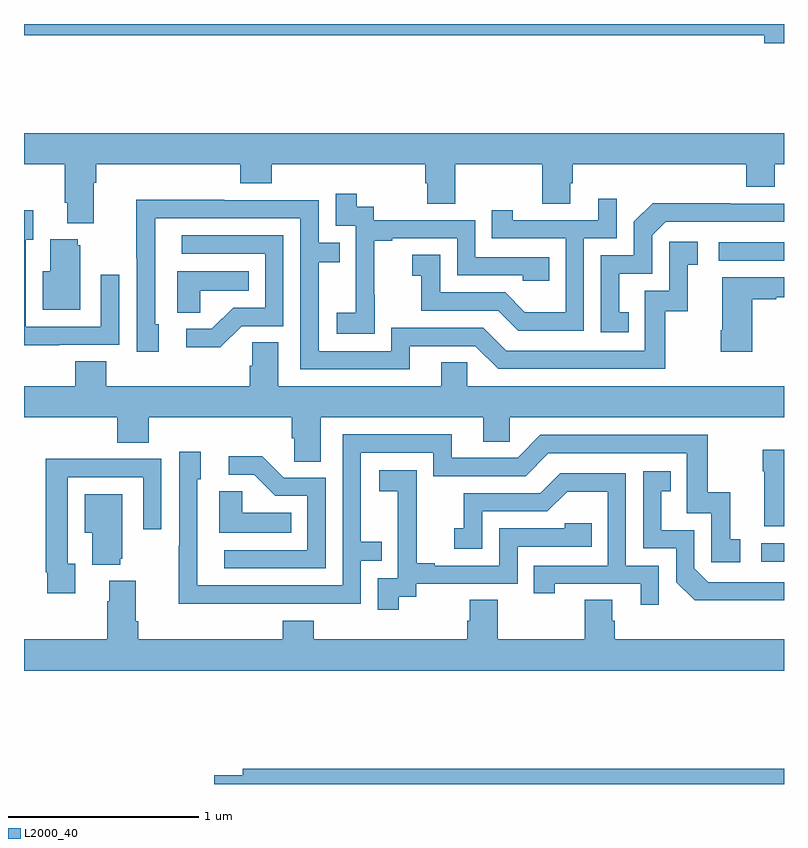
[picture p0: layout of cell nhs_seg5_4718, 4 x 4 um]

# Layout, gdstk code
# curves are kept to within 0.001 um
import gdstk
lib = gdstk.Library(unit=1e-6, precision=1e-09)
def R(c, l, rs):  # rectangles x0, y0, x1, y1
    for r in rs: c.add(gdstk.rectangle(r[:2], r[2:], *l))
def P(c, l, *ps):  # polygons
    for p in ps: c.add(gdstk.Polygon(p, *l))
L2000_40 = (2000, 40)

nhs_seg5_4718 = lib.new_cell('nhs_seg5_4718')
R(nhs_seg5_4718, L2000_40, [(390.879,887.97,391,888.066), (390.657,889.554,391,889.65)])
P(nhs_seg5_4718, L2000_40, [(391,890.799),(387,890.799),(387,890.74),(390.896,890.74),(390.896,890.698),(391,890.698)],
  [(387.367,889.964),(387.38,889.964),(387.38,890.06),(388.139,890.06),(388.139,889.961),(388.304,889.961),(388.304,890.06),(389.111,890.06),(389.111,889.962),(389.123,889.962),(389.123,889.852),(389.271,889.852),(389.271,890.06),(389.728,890.06),(389.728,889.852),(389.875,889.852),(389.875,889.962),(389.888,889.962),(389.888,890.06),(390.8,890.06),(390.8,889.943),(390.952,889.943),(390.952,890.06),(391,890.06),(391,890.224),(387,890.224),(387,890.06),(387.215,890.06),(387.215,889.858),(387.227,889.858),(387.227,889.751),(387.367,889.751)],
  [(388.845,889.375),(388.844,889.375),(388.844,889.659),(388.939,889.659),(388.939,889.671),(389.28,889.671),(389.28,889.476),(389.625,889.476),(389.625,889.449),(389.765,889.449),(389.765,889.572),(389.376,889.572),(389.376,889.767),(388.842,889.767),(388.842,889.836),(388.75,889.836),(388.75,889.906),(388.641,889.906),(388.641,889.737),(388.746,889.737),(388.746,889.508),(388.745,889.508),(388.745,889.279),(388.647,889.279),(388.647,889.169),(388.845,889.169)],
  [(389.946,889.671),(390.12,889.671),(390.12,889.879),(390.023,889.879),(390.023,889.767),(389.572,889.767),(389.572,889.819),(389.461,889.819),(389.461,889.671),(389.85,889.671),(389.85,889.282),(389.636,889.282),(389.532,889.386),(389.19,889.386),(389.19,889.585),(389.043,889.585),(389.043,889.475),(389.092,889.475),(389.092,889.29),(389.495,889.29),(389.6,889.185),(389.946,889.185)],
  [(389.029,889.104),(389.376,889.104),(389.496,888.984),(390.376,888.984),(390.376,889.287),(390.494,889.287),(390.494,889.533),(390.547,889.533),(390.547,889.654),(390.396,889.654),(390.396,889.395),(390.267,889.395),(390.267,889.08),(389.538,889.08),(389.418,889.2),(388.932,889.2),(388.932,889.077),(388.551,889.077),(388.551,889.546),(388.661,889.546),(388.661,889.647),(388.551,889.647),(388.551,889.872),(388.055,889.872),(388.055,889.874),(387.592,889.874),(387.592,889.567),(387.594,889.567),(387.594,889.074),(387.709,889.074),(387.709,889.218),(387.69,889.218),(387.69,889.776),(388.455,889.776),(388.455,888.981),(389.029,888.981)],
  [(390.182,889.281),(390.133,889.281),(390.133,889.485),(390.306,889.485),(390.306,889.686),(390.378,889.758),(391,889.758),(391,889.854),(390.716,889.854),(390.716,889.856),(390.308,889.856),(390.21,889.758),(390.21,889.581),(390.036,889.581),(390.036,889.176),(390.182,889.176)],
  [(387.185,889.11),(387.501,889.11),(387.501,889.48),(387.405,889.48),(387.405,889.206),(387.009,889.206),(387.009,889.663),(387.049,889.663),(387.049,889.819),(387,889.819),(387,889.109),(387.185,889.109)],
  [(388.146,889.209),(388.365,889.209),(388.365,889.686),(387.831,889.686),(387.831,889.59),(388.269,889.59),(388.269,889.305),(388.1,889.305),(387.989,889.194),(387.855,889.194),(387.855,889.097),(388.033,889.097)],
  [(387.295,889.635),(387.284,889.635),(387.284,889.666),(387.137,889.666),(387.137,889.498),(387.098,889.498),(387.098,889.295),(387.295,889.295)],
  [(387.927,889.394),(388.184,889.394),(388.184,889.498),(387.806,889.498),(387.806,889.279),(387.927,889.279)],
  [(390.832,889.351),(390.959,889.351),(390.959,889.361),(391,889.361),(391,889.465),(390.674,889.465),(390.674,889.186),(390.667,889.186),(390.667,889.074),(390.832,889.074)],
  [(389.334,889.019),(389.195,889.019),(389.195,888.892),(388.339,888.892),(388.339,889.124),(388.2,889.124),(388.2,889.001),(388.187,889.001),(388.187,888.892),(387.434,888.892),(387.434,889.025),(387.269,889.025),(387.269,888.892),(387,888.892),(387,888.728),(387.491,888.728),(387.491,888.595),(387.656,888.595),(387.656,888.728),(388.409,888.728),(388.409,888.619),(388.422,888.619),(388.422,888.496),(388.561,888.496),(388.561,888.728),(389.417,888.728),(389.417,888.601),(389.556,888.601),(389.556,888.728),(391,888.728),(391,888.892),(389.334,888.892)],
  [(388.277,887.748),(388.773,887.748),(388.773,887.973),(388.883,887.973),(388.883,888.074),(388.773,888.074),(388.773,888.543),(389.154,888.543),(389.154,888.42),(389.64,888.42),(389.76,888.54),(390.489,888.54),(390.489,888.225),(390.618,888.225),(390.618,887.967),(390.769,887.967),(390.769,888.087),(390.716,888.087),(390.716,888.334),(390.598,888.334),(390.598,888.636),(389.718,888.636),(389.598,888.516),(389.251,888.516),(389.251,888.639),(388.677,888.639),(388.677,887.844),(387.912,887.844),(387.912,888.402),(387.931,888.402),(387.931,888.547),(387.816,888.547),(387.816,888.053),(387.814,888.053),(387.814,887.747)],
  [(391,888.559),(390.889,888.559),(390.889,888.446),(390.896,888.446),(390.896,888.155),(391,888.155)],
  [(388.587,888.411),(388.368,888.411),(388.255,888.524),(388.077,888.524),(388.077,888.426),(388.211,888.426),(388.322,888.315),(388.491,888.315),(388.491,888.03),(388.053,888.03),(388.053,887.934),(388.587,887.934)],
  [(387.271,887.958),(387.231,887.958),(387.231,888.414),(387.627,888.414),(387.627,888.141),(387.723,888.141),(387.723,888.51),(387.407,888.51),(387.407,888.512),(387.115,888.512),(387.115,887.914),(387.123,887.914),(387.123,887.802),(387.271,887.802)],
  [(388.972,887.785),(389.064,887.785),(389.064,887.853),(389.598,887.853),(389.598,888.048),(389.987,888.048),(389.987,888.171),(389.847,888.171),(389.847,888.144),(389.502,888.144),(389.502,887.949),(389.161,887.949),(389.161,887.962),(389.066,887.962),(389.066,888.245),(389.067,888.245),(389.067,888.451),(388.869,888.451),(388.869,888.341),(388.967,888.341),(388.967,888.113),(388.968,888.113),(388.968,887.883),(388.863,887.883),(388.863,887.715),(388.972,887.715)],
  [(390.938,887.766),(391,887.766),(391,887.862),(390.6,887.862),(390.528,887.934),(390.528,888.135),(390.355,888.135),(390.355,888.339),(390.404,888.339),(390.404,888.445),(390.258,888.445),(390.258,888.039),(390.432,888.039),(390.432,887.862),(390.53,887.765)],
  [(390.342,887.949),(390.168,887.949),(390.168,888.435),(389.822,888.435),(389.717,888.33),(389.314,888.33),(389.314,888.145),(389.265,888.145),(389.265,888.036),(389.412,888.036),(389.412,888.234),(389.754,888.234),(389.858,888.338),(390.072,888.338),(390.072,887.949),(389.683,887.949),(389.683,887.802),(389.794,887.802),(389.794,887.853),(390.245,887.853),(390.245,887.742),(390.342,887.742)],
  [(388.406,888.226),(388.149,888.226),(388.149,888.341),(388.028,888.341),(388.028,888.122),(388.406,888.122)],
  [(387.506,887.985),(387.517,887.985),(387.517,888.325),(387.32,888.325),(387.32,888.122),(387.359,888.122),(387.359,887.954),(387.506,887.954)],
  [(391,887.56),(390.11,887.56),(390.11,887.658),(390.097,887.658),(390.097,887.768),(389.95,887.768),(389.95,887.56),(389.493,887.56),(389.493,887.768),(389.345,887.768),(389.345,887.658),(389.333,887.658),(389.333,887.56),(388.526,887.56),(388.526,887.659),(388.361,887.659),(388.361,887.56),(387.602,887.56),(387.602,887.656),(387.589,887.656),(387.589,887.869),(387.449,887.869),(387.449,887.762),(387.437,887.762),(387.437,887.56),(387,887.56),(387,887.396),(391,887.396)],
  [(391,886.88),(388.151,886.88),(388.151,886.844),(388.002,886.844),(388.002,886.799),(391,886.799)])

lib.write_gds('nhs_seg5_4718.gds')
